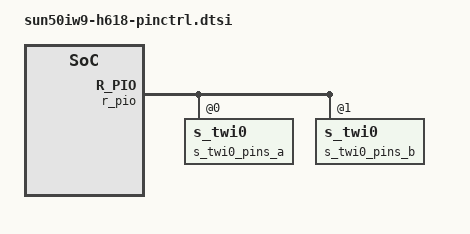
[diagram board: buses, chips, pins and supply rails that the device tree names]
// SPDX-License-Identifier: (GPL-2.0+ or MIT)
/*
 * Copyright (C) 2020 frank@allwinnertech.com
 */

// #include <dt-bindings/clock/sun50iw9-ccu.h>
// #include <dt-bindings/clock/sun50iw9-ccu-rtc.h>
// #include <dt-bindings/clock/sun50iw9-r-ccu.h>
// #include <dt-bindings/gpio/gpio.h>
// #include <dt-bindings/gpio/sun4i-gpio.h>
// #include <dt-bindings/interrupt-controller/arm-gic.h>
// #include <dt-bindings/reset/sun50iw9-ccu.h>
// #include <dt-bindings/reset/sun50iw9-r-ccu.h>
// #include <dt-bindings/thermal/thermal.h>


&r_pio {
	s_twi0_pins_a: s_twi0@0 {
		pins = "PL0", "PL1";
		function = "s_twi0";
		drive-strength = <20>;
		bias-pull-up;
	};

	s_twi0_pins_b: s_twi0@1 {
		pins = "PL0", "PL1";
		function = "gpio_in";
	};
};

/* For uboot */
/* for mmc */
&pio {

	vcc-pg-supply = <&reg_pio1_8>;

	uart0_ph_pins: uart0-ph-pins {
		pins = "PH0", "PH1";
		function = "uart0";
		bias-pull-up;
	};

	uart0_ph_sleep: uart0-ph-sleep {
		pins = "PH0", "PH1";
		function = "gpio_in";
	};

	uart1_ph_pins: uart1-ph-pins {
		pins = "PG6", "PG7", "PG8", "PG9";
		function = "uart1";
	};

	uart1_ph_sleep: uart1-ph-sleep {
		pins = "PG6", "PG7", "PG8", "PG9";
		function = "gpio_in";
	};

	uart2_ph_pins: uart2-ph-pins {
		pins = "PG15", "PG16";
		function = "uart2";
	};

	uart2_ph_sleep: uart2-ph-sleep {
		pins = "PG15", "PG16";
		function = "gpio_in";
	};

	uart3_ph_pins: uart3-ph-pins {
		pins = "PI9", "PI10";
		function = "uart3";
	};

	uart3_ph_sleep: uart3-ph-sleep {
		pins = "PI9", "PI10";
		function = "gpio_in";
	};

	uart4_ph_pins: uart4-ph-pins {
		pins = "PI13", "PI14";
		function = "uart4";
	};

	uart4_ph_sleep: uart4-ph-sleep {
		pins = "PI13", "PI14";
		function = "gpio_in";
	};

	uart5_ph_pins: uart5-ph-pins {
		pins = "PH2", "PH3";
		function = "uart5";
	};

	uart5_ph_sleep: uart5-ph-sleep {
		pins = "PH2", "PH3";
		function = "gpio_in";
	};

	s_cir0_pins_a: s_cir0@0 {
		pins = "PH10";
		function = "ir";
		drive-strength = <10>;
		bias-pull-up;
	};

	s_cir0_pins_b: s_cir0@1 {
	        pins = "PH10";
	        function = "gpio_in";
	};

	sdc0_pins_a: sdc0@0 {
		allwinner,pins = "PF0", "PF1", "PF2",
				 "PF3", "PF4", "PF5";
		allwinner,function = "sdc0";
		allwinner,muxsel = <2>;
		allwinner,drive = <3>;
		allwinner,pull = <1>;
	};

	sdc2_pins_a: sdc2@0 {
		allwinner,pins = "PC1", "PC5", "PC6",
				 "PC8", "PC9", "PC10", "PC11",
				 "PC13", "PC14", "PC15", "PC16";
		allwinner,function = "sdc2";
		allwinner,muxsel = <3>;
		allwinner,drive = <3>;
		allwinner,pull = <1>;
	};

	sdc2_pins_c: sdc2@2 {
				allwinner,pins = "PC0";
				allwinner,function = "sdc2";
				allwinner,muxsel = <3>;
				allwinner,drive = <3>;
				allwinner,pull = <2>;
	};

	twi0_pins_a: twi0@0 {
		pins = "PI5", "PI6";
		function = "twi0";
		drive-strength = <10>;
		bias-pull-up;
	};

	twi0_pins_b: twi0@1 {
		pins = "PI5", "PI6";
		function = "gpio_in";
	};

	twi1_pins_a: twi1@0 {
		pins = "PH0", "PH1";
		function = "twi1";
		drive-strength = <10>;
		bias-pull-up;
	};

	twi1_pins_b: twi1@1 {
		pins = "PH0", "PH1";
		function = "gpio_in";
	};

	twi2_pins_a: twi2@0 {
		pins = "PH2", "PH3";
		function = "twi2";
		drive-strength = <10>;
		bias-pull-up;
	};

	twi2_pins_b: twi2@1 {
		pins = "PH2", "PH3";
		function = "gpio_in";
	};

	twi3_pins_a: twi3@0 {
		pins = "PG17", "PG18";
		function = "twi3";
		drive-strength = <10>;
		bias-pull-up;
	};

	twi3_pins_b: twi3@1 {
		pins = "PG17", "PG18";
		function = "gpio_in";
	};

	twi4_pins_a: twi4@0 {
		pins = "PG15", "PG16";
		function = "twi4";
		drive-strength = <10>;
		bias-pull-up;
	};

	twi4_pins_b: twi4@1 {
		pins = "PG15", "PG16";
		function = "gpio_in";
	};

	spi1_pins_a: spi1@0 {
		allwinner,pins = "PH6", "PH7", "PH8";
		allwinner,pname = "spi1_sclk", "spi1_mosi", "spi1_miso";
		allwinner,function = "spi1";
		allwinner,muxsel = <4>;
		allwinner,drive = <2>;
		allwinner,pull = <0>;
	};

	spi1_pins_b: spi1@1 {
		allwinner,pins = "PH5", "PH9";
		allwinner,pname = "spi1_cs0", "spi1_cs1";
		allwinner,function = "spi1";
		allwinner,muxsel = <4>;
		allwinner,drive = <2>;
		allwinner,pull = <1>;	/* only CS should be pulled up */

	};

	spi1_pins_c: spi1@2 {
		allwinner,pins = "PH5", "PH6", "PH7", "PH8", "PH9";
		allwinner,function = "gpio_in";
		allwinner,muxsel = <0>;
		allwinner,drive = <2>;
		allwinner,pull = <0>;
	};


	gmac0_pins_a: gmac0@0 {
		pins = "PI0", "PI1", "PI2", "PI3",
			"PI4", "PI5", "PI7",
			"PI8", "PI9", "PI10", "PI11",
			"PI12", "PI13", "PI14", "PI15";
		function = "gmac0";
		drive-strength = <30>;
		bias-pull-up;
	};

	gmac0_pins_b: gmac0@1 {
		pins = "PI0", "PI1", "PI2", "PI3",
			"PI4", "PI5", "PI7",
			"PI8", "PI9", "PI10", "PI11",
			"PI12", "PI13", "PI14", "PI15";
		function = "gpio_in";
		drive-strength = <10>;
	};

	gmac1_pins_a: gmac1@0 {
		pins = "PA0", "PA1", "PA2", "PA3",
			"PA4", "PA5", "PA6", "PA7",
			"PA8", "PA9";
		function = "gmac1";
		drive-strength = <10>;
		bias-pull-up;
	};

	gmac1_pins_b: gmac1@1 {
		pins = "PA0", "PA1", "PA2", "PA3",
			"PA4", "PA5", "PA6", "PA7",
			"PA8", "PA9";
		function = "io_disabled";
		drive-strength = <10>;
	};

	pwm1_pin_a: pwm1@0 {
		pins = "PG19";
		function = "pwm1";
		drive-strength = <10>;
		bias-pull-up;
	};

	pwm1_pin_b: pwm1@1 {
		pins = "PG19";
		function = "gpio_in";
	};

	pwm5_pin_a: pwm5@0 {
		pins = "PA12";
		function = "pwm5";
		drive-strength = <10>;
		bias-pull-up;
	};

	pwm5_pin_b: pwm5@1 {
		pins = "PA12";
		function = "gpio_in";
	};

	spdif_pins_a: spdif@0 {
		pins = "PH4";	/* spdif out */
		function = "spdif";
		drive-strength = <20>;
		bias-disable;
	};

	spdif_pins_b: spdif_sleep@0 {
		pins = "PH4";
		function = "gpio_in";
		drive-strength = <20>;
		bias-disable;
	};

	ahub_daudio0_pins_a: ahub_daudio0@0 {
		pins = "PA6", "PA7", "PA8", "PA9";
		function = "i2s0";
		drive-strength = <20>;
		bias-disable;
	};

	ahub_daudio0_pins_b: ahub_daudio0_sleep@0 {
		pins = "PA6", "PA7", "PA8", "PA9";
		function = "gpio_in";
		drive-strength = <20>;
		bias-disable;
	};

	ahub_daudio2_pins_a: ahub_daudio2@0 {
		pins = "PG11", "PG12";
		function = "i2s2";
		drive-strength = <20>;
		bias-disable;
	};

	ahub_daudio2_pins_b: ahub_daudio2@1 {
		pins = "PG13";
		function = "i2s2_dout0";
		drive-strength = <20>;
		bias-disable;
	};

	ahub_daudio2_pins_c: ahub_daudio2@2 {
		pins = "PG14";
		function = "i2s2_din0";
		drive-strength = <20>;
		bias-disable;
	};

	ahub_daudio2_pins_d: ahub_daudio2_sleep@0 {
		pins = "PG11", "PG12", "PG13", "PG14";
		function = "gpio_in";
		drive-strength = <20>;
		bias-disable;
	};

	ahub_daudio3_pins_a: ahub_daudio3@0 {
		pins = "PH5", "PH6", "PH7";
		function = "i2s3";
		drive-strength = <20>;
		bias-disable;
	};

	ahub_daudio3_pins_b: ahub_daudio3@1 {
		pins = "PH8";
		function = "i2s3_dout0";
		drive-strength = <20>;
		bias-disable;
	};

	ahub_daudio3_pins_c: ahub_daudio3@2 {
		pins = "PH9";
		function = "i2s3_din0";
		drive-strength = <20>;
		bias-disable;
	};

	ahub_daudio3_pins_d: ahub_daudio3_sleep@0 {
		pins = "PH5", "PH6", "PH7", "PH8", "PH9";
		function = "gpio_in";
		drive-strength = <20>;
		bias-disable;
	};

	standby_red: standby@0 {
		allwinner,pins = "PH5";
		allwinner,function = "gpio_out";
		allwinner,muxsel = <1>;
		allwinner,data = <1>;
		allwinner,drive = <0>;
		allwinner,pull = <0>;
	};
	standby_blue: standby@1 {
		allwinner,pins = "PH9";
		allwinner,function = "gpio_out";
		allwinner,muxsel = <1>;
		allwinner,data = <0>;
		allwinner,drive = <2>;
		allwinner,pull = <2>;
	};
	standby_bt: standby@2 {
		allwinner,pins = "PG16";
		allwinner,function = "gpio_in";
		allwinner,muxsel = <0>;
		allwinner,data = <0>;
		allwinner,drive = <0>;
		allwinner,pull = <0>;
	};
};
